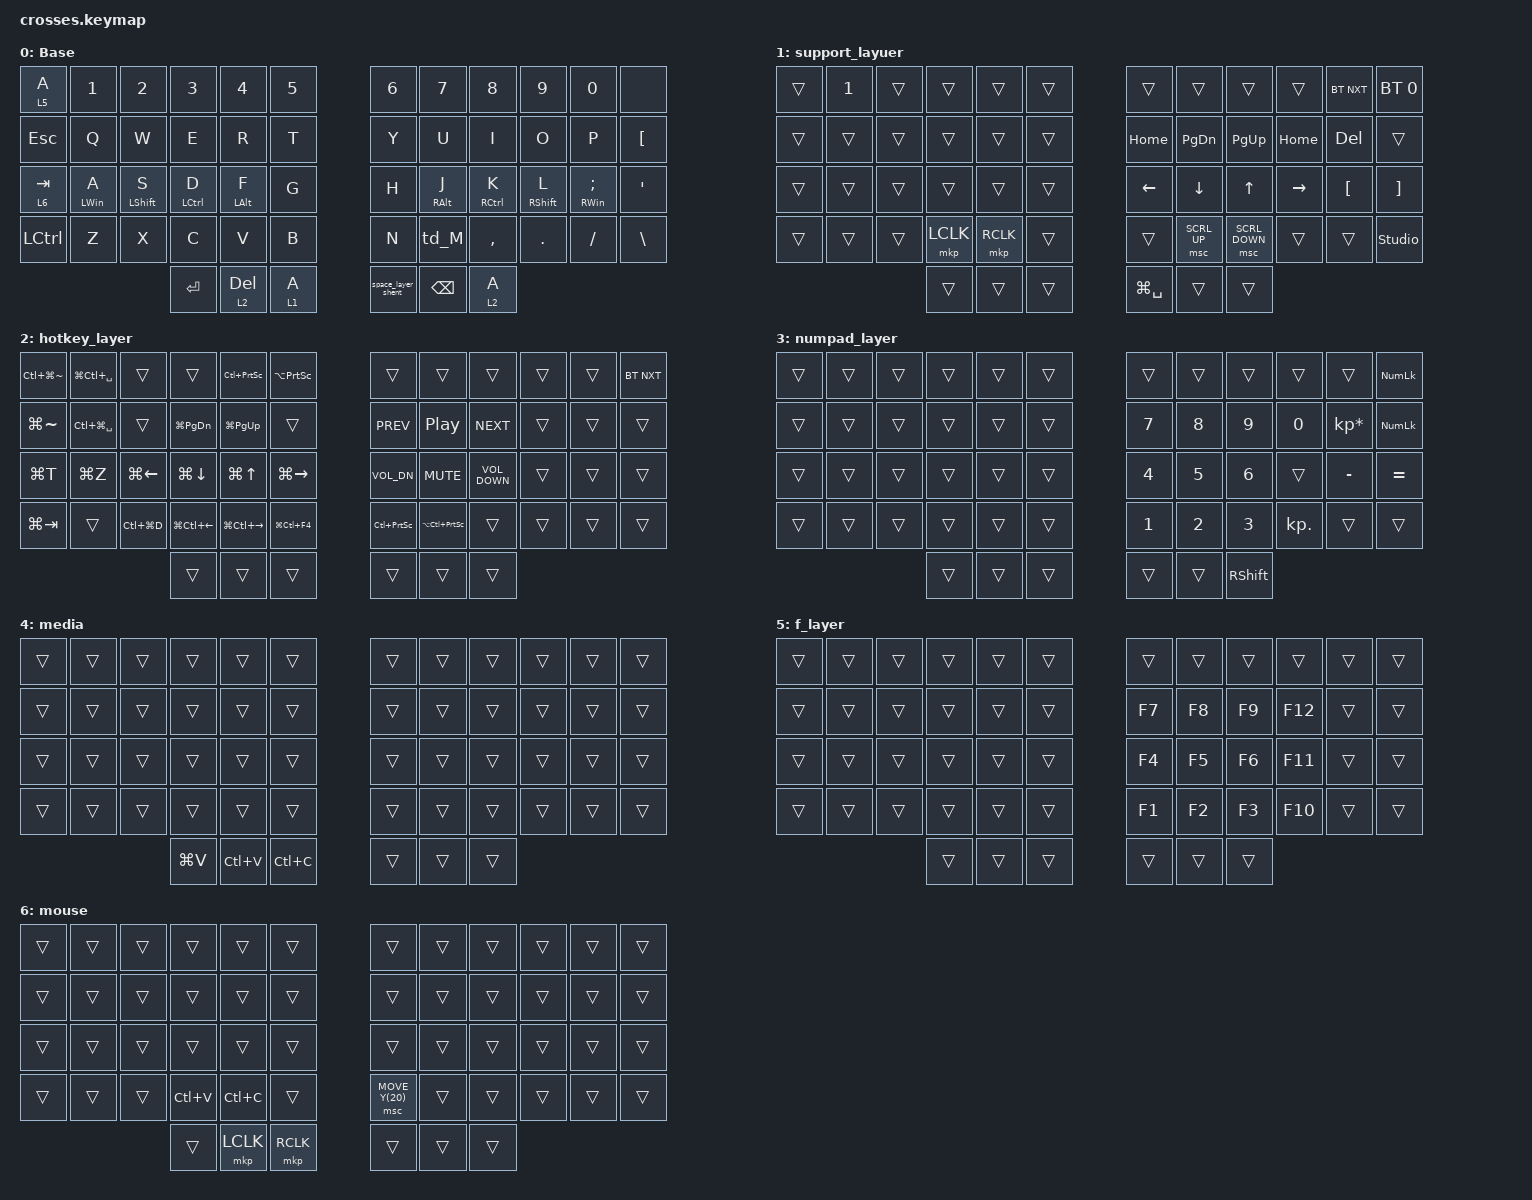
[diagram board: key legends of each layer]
#include <input/processors.dtsi>
#include <dt-bindings/zmk/input_transform.h>
#include <behaviors.dtsi>
#include <dt-bindings/zmk/bt.h>
#include <dt-bindings/zmk/keys.h>
#include <dt-bindings/zmk/pointing.h>
#include "input_processors.dtsi"

/ {
    chosen { zmk,physical-layout = &gggw_crosses_54_layout; };

    behaviors {
        space_layer_shent: space_layer_shent {
            compatible = "zmk,behavior-tap-dance";
            label = "SPACE_LAYER_SHENT";
            #binding-cells = <0>;
            bindings = <&lt 1 SPACE>, <&kp LS(ENTER)>;
        };

        td_M: td_M {
            compatible = "zmk,behavior-tap-dance";
            label = "TD_M";
            #binding-cells = <0>;
            bindings = <&kp M>, <&none>;
        };

        hrm_right: hrm_right {
            compatible = "zmk,behavior-hold-tap";
            label = "HRM_RIGHT";
            bindings = <&kp>, <&kp>;

            #binding-cells = <2>;
            tapping-term-ms = <200>;
            quick-tap-ms = <200>;
            require-prior-idle-ms = <125>;
            flavor = "tap-preferred";
            hold-trigger-key-positions = <0 1 2 4 5 3 12 13 14 15 16 17 29 28 27 26 25 24 36 37 38 39 40 41 48 49 50>;
        };

        hrm_left: hrm_left {
            compatible = "zmk,behavior-hold-tap";
            label = "HRM_LEFT";
            bindings = <&kp>, <&kp>;

            #binding-cells = <2>;
            tapping-term-ms = <200>;
            quick-tap-ms = <200>;
            require-prior-idle-ms = <125>;
            flavor = "tap-preferred";
            hold-trigger-key-positions = <47 7 20 9 21 33 33 46 34 22 10 11 23 35 45 8 32 44 43 42 30 31 19 18 6 51 52 53>;
        };
    };

    combos {
        compatible = "zmk,combos";

        ctrl_c {
            bindings = <&kp LC(C)>;
            key-positions = <27 50>;
            layers = <0>;
            slow-release;
            require-prior-idle-ms = <200>;
            timeout-ms = <120>;
        };

        ctrl_v {
            bindings = <&kp LC(V)>;
            key-positions = <27 49>;
            layers = <0>;
            slow-release;
            timeout-ms = <120>;
            require-prior-idle-ms = <200>;
        };

        num_lauer {
            bindings = <&mo 3>;
            key-positions = <50 49>;
            layers = <0>;
            timeout-ms = <100>;
            require-prior-idle-ms = <100>;
        };

        win_v {
            bindings = <&kp LG(V)>;
            key-positions = <25 49>;
            timeout-ms = <120>;
            require-prior-idle-ms = <200>;
            slow-release;
            layers = <0>;
        };

        f_layer {
            bindings = <&mo 5>;
            key-positions = <48 49>;
            timeout-ms = <120>;
            require-prior-idle-ms = <200>;
            slow-release;
            layers = <0>;
        };

        lang_sh {
            bindings = <&kp LG(SPACE)>;
            key-positions = <36 50>;
        };
    };

    keymap {
        compatible = "zmk,keymap";

        default_layer {
            display-name = "Base";
            bindings = <
&lt 5 A     &kp N1                &kp N2                  &kp N3             &kp N4                &kp N5   &kp N6              &kp N7                  &kp N8              &kp N9                    &kp N0                          &none
&kp ESCAPE  &kp Q                 &kp W                   &kp E              &kp R                 &kp T    &kp Y               &kp U                   &kp I               &kp O                     &kp P                           &kp LEFT_BRACKET
&lt 6 TAB   &hrm_left LEFT_WIN A  &hrm_left LEFT_SHIFT S  &hrm_left LCTRL D  &hrm_left LEFT_ALT F  &kp G    &kp H               &hrm_right RIGHT_ALT J  &hrm_right RCTRL K  &hrm_right RIGHT_SHIFT L  &hrm_right RIGHT_WIN SEMICOLON  &kp SQT
&kp LCTRL   &kp Z                 &kp X                   &kp C              &kp V                 &kp B    &kp N               &td_M                   &kp COMMA           &kp DOT                   &kp FSLH                        &kp BACKSLASH
                                                          &kp ENTER          &lt 2 DEL             &lt 1 A  &space_layer_shent  &kp BACKSPACE           &lt 2 A
            >;
        };

        support_layuer {
            bindings = <
&trans  &kp N1  &trans  &trans     &trans     &trans  &trans          &trans          &trans          &trans     &bt BT_NXT        &bt BT_SEL 0
&trans  &trans  &trans  &trans     &trans     &trans  &kp HOME        &kp PAGE_DOWN   &kp PAGE_UP     &kp HOME   &kp DELETE        &trans
&trans  &trans  &trans  &trans     &trans     &trans  &kp LEFT_ARROW  &kp DOWN_ARROW  &kp UP_ARROW    &kp RIGHT  &kp LEFT_BRACKET  &kp RIGHT_BRACKET
&trans  &trans  &trans  &mkp LCLK  &mkp RCLK  &trans  &trans          &msc SCRL_UP    &msc SCRL_DOWN  &trans     &trans            &studio_unlock
                        &trans     &trans     &trans  &kp LG(SPACE)   &trans          &trans
            >;
        };

        hotkey_layer {
            bindings = <
&kp LC(LG(TILDE))  &kp LG(LC(SPACE))  &trans              &trans              &kp LC(PRINTSCREEN)  &kp LA(PRINTSCREEN)  &trans               &trans                   &trans             &trans  &trans  &bt BT_NXT
&kp LG(TILDE)      &kp LC(LG(SPACE))  &trans              &kp LG(PAGE_DOWN)   &kp LG(PAGE_UP)      &trans               &kp K_PREV           &kp C_PLAY_PAUSE         &kp C_NEXT         &trans  &trans  &trans
&kp LG(T)          &kp LG(Z)          &kp LG(LEFT_ARROW)  &kp LG(DOWN_ARROW)  &kp LG(UP_ARROW)     &kp LG(RIGHT)        &kp C_VOL_DN         &kp K_MUTE               &kp C_VOLUME_DOWN  &trans  &trans  &trans
&kp LG(TAB)        &trans             &kp LC(LG(D))       &kp LG(LC(LEFT))    &kp LG(LC(RIGHT))    &kp LG(LC(F4))       &kp LC(PRINTSCREEN)  &kp LA(LC(PRINTSCREEN))  &trans             &trans  &trans  &trans
                                                          &trans              &trans               &trans               &trans               &trans                   &trans
            >;
        };

        numpad_layer {
            bindings = <
&trans  &trans  &trans  &trans  &trans  &trans  &trans  &trans  &trans           &trans      &trans           &kp KP_NUM
&trans  &trans  &trans  &trans  &trans  &trans  &kp N7  &kp N8  &kp N9           &kp N0      &kp KP_MULTIPLY  &kp KP_NUMLOCK
&trans  &trans  &trans  &trans  &trans  &trans  &kp N4  &kp N5  &kp N6           &trans      &kp MINUS        &kp EQUAL
&trans  &trans  &trans  &trans  &trans  &trans  &kp N1  &kp N2  &kp N3           &kp KP_DOT  &trans           &trans
                        &trans  &trans  &trans  &trans  &trans  &kp RIGHT_SHIFT
            >;
        };

        media {
            bindings = <
&trans  &trans  &trans  &trans     &trans     &trans     &trans  &trans  &trans  &trans  &trans  &trans
&trans  &trans  &trans  &trans     &trans     &trans     &trans  &trans  &trans  &trans  &trans  &trans
&trans  &trans  &trans  &trans     &trans     &trans     &trans  &trans  &trans  &trans  &trans  &trans
&trans  &trans  &trans  &trans     &trans     &trans     &trans  &trans  &trans  &trans  &trans  &trans
                        &kp LG(V)  &kp LC(V)  &kp LC(C)  &trans  &trans  &trans
            >;
        };

        f_layer {
            bindings = <
&trans  &trans  &trans  &trans  &trans  &trans  &trans  &trans  &trans  &trans   &trans  &trans
&trans  &trans  &trans  &trans  &trans  &trans  &kp F7  &kp F8  &kp F9  &kp F12  &trans  &trans
&trans  &trans  &trans  &trans  &trans  &trans  &kp F4  &kp F5  &kp F6  &kp F11  &trans  &trans
&trans  &trans  &trans  &trans  &trans  &trans  &kp F1  &kp F2  &kp F3  &kp F10  &trans  &trans
                        &trans  &trans  &trans  &trans  &trans  &trans
            >;
        };

        mouse {
            bindings = <
&trans  &trans  &trans  &trans     &trans     &trans     &trans           &trans  &trans  &trans  &trans  &trans
&trans  &trans  &trans  &trans     &trans     &trans     &trans           &trans  &trans  &trans  &trans  &trans
&trans  &trans  &trans  &trans     &trans     &trans     &trans           &trans  &trans  &trans  &trans  &trans
&trans  &trans  &trans  &kp LC(V)  &kp LC(C)  &trans     &msc MOVE_Y(20)  &trans  &trans  &trans  &trans  &trans
                        &trans     &mkp LCLK  &mkp RCLK  &trans           &trans  &trans
            >;
        };
    };
};
